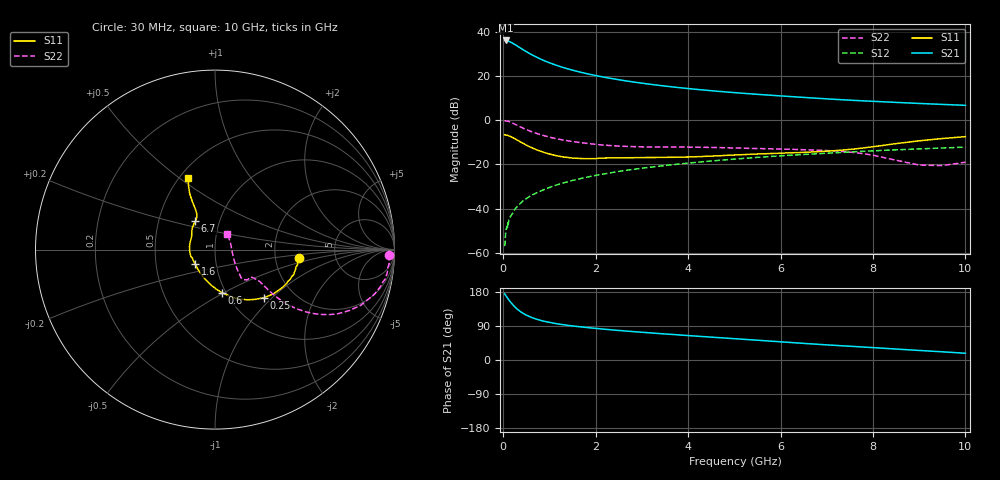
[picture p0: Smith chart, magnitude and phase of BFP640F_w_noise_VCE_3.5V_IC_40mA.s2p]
! Infineon Technologies  Discrete & RF Semiconductors
! BFP640F
! VCE =  3.5 V,  IC =  40 mA
! Common Emitter S-Parameters:  Apr 2013
# GHz  S  MA  R  50
!  f  S11  S21  S12  S22
! GHz  MAG  ANG  MAG  ANG  MAG  ANG  MAG  ANG
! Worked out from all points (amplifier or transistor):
!   99 points, 30 MHz to 10 GHz, reference 50 ohm
!   highest |S21| = 36.2 dB at 50 MHz (marker M1)
!   |S21| within 3 dB of that: start of sweep to 339.1 MHz
!   unconditionally stable (mu >= 1): 1.61 GHz to end of sweep
!   at 350 MHz: K = 0.56, MSG = 35.6 dB, |S12| = -38.1 dB
!   at 3.5 GHz: K = 1.06, MAG = 16.5 dB, |S12| = -20.5 dB
!   at 10 GHz: K = 1.04, MAG = 8.3 dB, |S12| = -12.1 dB
!   lowest NFmin = 1.22 dB at 450 MHz
!   S11 on the Smith chart (normalised r, x): 30 MHz: 2.74, -0.34; 250 MHz: 1.43, -0.90; 600 MHz: 0.96, -0.49; 1.6 GHz: 0.79, -0.13; 6.7 GHz: 0.77, +0.25; 10 GHz: 0.55, +0.54
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0.03  0.4716 -5.8  64.66 174.8  0.0014 71.3  0.9689 -1.7
0.05  0.4675 -10.2  64.81 171.3  0.0026 59.8  0.9734 -4.6
0.09  0.4606 -17.5  63.31 164.0  0.0034 98.3  0.9631 -9.7
0.14  0.437 -26.8  60.52 155.7  0.0061 79.4  0.925 -15.3
0.2  0.409 -37.0  56.4 146.8  0.0077 76.6  0.8698 -20.9
0.25  0.3834 -44.3  52.55 140.3  0.0096 75.7  0.8202 -24.5
0.3  0.3572 -50.9  48.79 134.6  0.011 77.5  0.7733 -27.5
0.4  0.3115 -62.4  41.84 125.4  0.014 75.6  0.686 -31.7
0.5  0.2739 -71.9  36.09 118.4  0.0168 76.1  0.6168 -34.3
0.6  0.244 -80.7  31.48 112.9  0.0197 74.2  0.5608 -36.0
0.7  0.2196 -88.3  27.75 108.5  0.0221 74.8  0.5134 -36.9
0.8  0.2004 -95.7  24.72 104.9  0.0247 74.4  0.4754 -37.4
1  0.1723 -109.2  20.2 99.3  0.03 74.2  0.4165 -37.6
1.3  0.1477 -127.5  15.76 93.1  0.038 73.4  0.3571 -36.8
1.6  0.1377 -143.3  12.9 88.5  0.0458 72.5  0.3199 -36.0
1.7  0.136 -148.0  12.16 87.1  0.0486 72.2  0.3097 -35.5
2.4  0.1407 -173.1  8.676 79.0  0.0667 68.7  0.2647 -36.5
3.4  0.1447 163.2  6.163 69.6  0.092 63.8  0.2476 -40.0
5.1  0.1653 141.2  4.176 55.5  0.1345 54.9  0.2349 -45.6
6.7  0.1923 125.0  3.211 42.3  0.1726 45.7  0.2122 -47.1
8.5  0.2966 115.2  2.553 28.9  0.2146 35.3  0.1247 -30.3
10  0.4263 110.3  2.189 17.8  0.2471 26.5  0.112 52.0
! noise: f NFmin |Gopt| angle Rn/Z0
0.45  1.22  0.25  -172  0.08
0.9  1.22  0.26  -169  0.08
1.5  1.25  0.28  -162  0.09
1.9  1.28  0.29  -155  0.1
2.4  1.3  0.3  -146  0.1
3.5  1.38  0.31  -135  0.12
5.5  1.59  0.33  -117  0.16
10  2.07  0.48  -81  0.56
